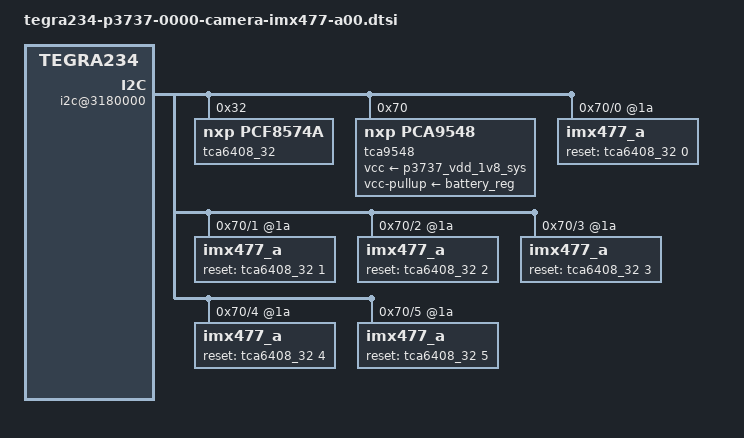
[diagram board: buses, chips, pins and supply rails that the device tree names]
/*
 * Copyright (C) 2022, Leopardimaging Inc.
 * Based on Copyright (c) 2017-2022, NVIDIA CORPORATION.  All rights reserved.
 *
 * This program is free software; you can redistribute it and/or modify it
 * under the terms and conditions of the GNU General Public License,
 * version 2, as published by the Free Software Foundation.
 *
 * This program is distributed in the hope it will be useful, but WITHOUT
 * ANY WARRANTY; without even the implied warranty of MERCHANTABILITY or
 * FITNESS FOR A PARTICULAR PURPOSE.  See the GNU General Public License for
 * more details.
 *
 * You should have received a copy of the GNU General Public License
 * along with this program.  If not, see <http://www.gnu.org/licenses/>.
 */
#include <t234-common-modules/tegra234-camera-imx477-a00.dtsi>
#include "dt-bindings/clock/tegra234-clock.h"

#define CAMERA_I2C_MUX_BUS(x) (0x1E + x)

/* camera control gpio definitions */

/ {
	/*gpio@2200000 {
		camera-control-output-low {
			gpio-hog;
			output-low;
			gpios = <CAM0_RST_L 0>;
			label = "cam0-rst";
		};
	};*/

	i2c@3180000 {
        tca6408_32: tca6408@32 {
            compatible = "nxp,pcf8574a";
            reg = <0x32>;
            gpio-controller;
            #gpio-cells = <2>;
            tca6408_32_outlow {
                /*
                 * GPIO-0 : PWDN_CAM0
                 * GPIO-1 : PWDN_CAM1
                 * GPIO-2 : PWDN_CAM2
                 * GPIO-3 : PWDN_CAM3
                 * GPIO-4 : PWDN_CAM4
                 * GPIO-5 : PWDN_CAM5
                 * GPIO-6 : 
                 * GPIO-7 : 
                 */
                gpio-hog;
                gpios = <0 0 1 0 2 0 3 0 4 0 5 0 6 0 7 0>;
                output-low;
                label = "tca6408_32_outlow_0",
                    "tca6408_32_outlow_1",
                    "tca6408_32_outlow_2",
                    "tca6408_32_outlow_3",
                    "tca6408_32_outlow_4",
                    "tca6408_32_outlow_5",
                    "tca6408_32_outlow_6",
                    "tca6408_32_outlow_7";
            };
        };
		tca9548@70 {
			status = "okay";
			compatible = "nxp,pca9548";
			reg = <0x70>;
			#address-cells = <1>;
			#size-cells = <0>;
			skip_mux_detect = "yes";
			vcc-supply = <&p3737_vdd_1v8_sys>;
			vcc-pullup-supply = <&battery_reg>;
			force_bus_start = <CAMERA_I2C_MUX_BUS(0)>;

			i2c@0 {
				reg = <0>;
				i2c-mux,deselect-on-exit;
				#address-cells = <1>;
				#size-cells = <0>;
				imx477_a@1a {
					reset-gpios = <&tca6408_32 0 GPIO_ACTIVE_HIGH>;
				};
			};
			i2c@1 {
				reg = <1>;
				i2c-mux,deselect-on-exit;
				#address-cells = <1>;
				#size-cells = <0>;
				imx477_a@1a {
					reset-gpios = <&tca6408_32 1 GPIO_ACTIVE_HIGH>;
				};
			};
			i2c@2 {
				reg = <2>;
				i2c-mux,deselect-on-exit;
				#address-cells = <1>;
				#size-cells = <0>;
				imx477_a@1a {
					reset-gpios = <&tca6408_32 2 GPIO_ACTIVE_HIGH>;
				};
			};
			i2c@3 {
				reg = <3>;
				i2c-mux,deselect-on-exit;
				#address-cells = <1>;
				#size-cells = <0>;
				imx477_a@1a {
					reset-gpios = <&tca6408_32 3 GPIO_ACTIVE_HIGH>;
				};
			};
			i2c@4 {
				reg = <4>;
				i2c-mux,deselect-on-exit;
				#address-cells = <1>;
				#size-cells = <0>;
				imx477_a@1a {
					reset-gpios = <&tca6408_32 4 GPIO_ACTIVE_HIGH>;
				};
			};
			i2c@5 {
				reg = <5>;
				i2c-mux,deselect-on-exit;
				#address-cells = <1>;
				#size-cells = <0>;
				imx477_a@1a {
					reset-gpios = <&tca6408_32 5 GPIO_ACTIVE_HIGH>;
				};
			};
		};
	};
};
